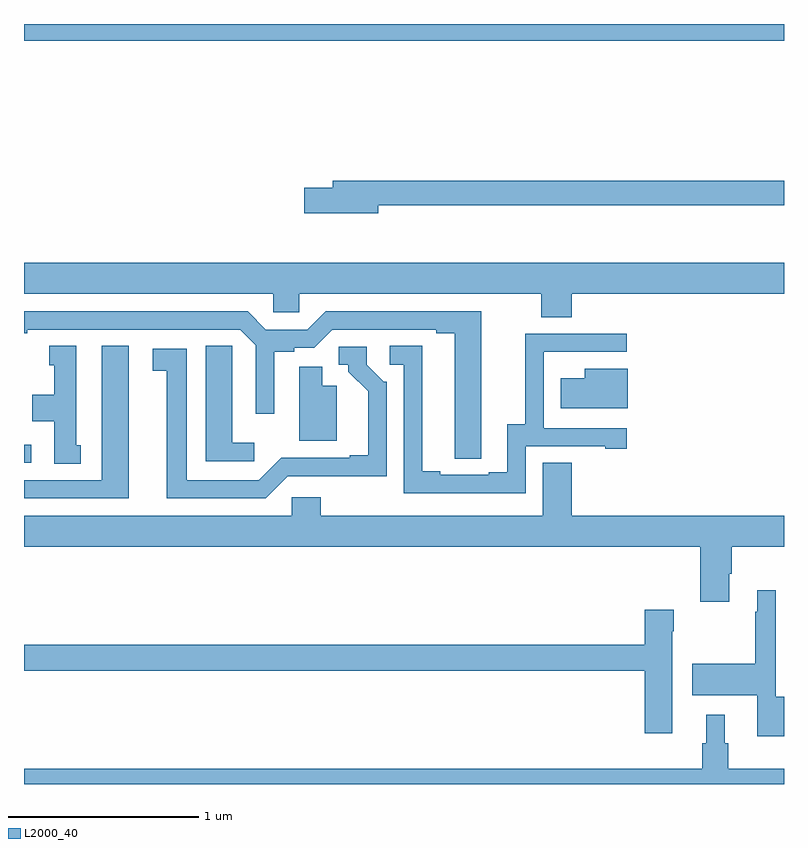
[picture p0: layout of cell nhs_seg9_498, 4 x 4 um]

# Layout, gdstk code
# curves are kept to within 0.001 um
import gdstk
lib = gdstk.Library(unit=1e-6, precision=1e-09)
def R(c, l, rs):  # rectangles x0, y0, x1, y1
    for r in rs: c.add(gdstk.rectangle(r[:2], r[2:], *l))
def P(c, l, *ps):  # polygons
    for p in ps: c.add(gdstk.Polygon(p, *l))
L2000_40 = (2000, 40)

nhs_seg9_498 = lib.new_cell('nhs_seg9_498')
R(nhs_seg9_498, L2000_40, [(135,1202.19,135.037,1202.286), (135,1204.412,139,1204.5)])
P(nhs_seg9_498, L2000_40, [(136.864,1203.546),(139,1203.546),(139,1203.674),(136.625,1203.674),(136.625,1203.638),(136.476,1203.638),(136.476,1203.503),(136.864,1203.503)],
  [(137.882,1203.08),(139,1203.08),(139,1203.244),(135,1203.244),(135,1203.08),(136.311,1203.08),(136.311,1202.982),(136.449,1202.982),(136.449,1203.08),(137.722,1203.08),(137.722,1202.956),(137.882,1202.956)],
  [(137.406,1202.32),(137.407,1202.988),(136.587,1202.988),(136.491,1202.892),(136.273,1202.892),(136.177,1202.988),(135,1202.988),(135,1202.872),(135.016,1202.872),(135.016,1202.892),(136.137,1202.892),(136.221,1202.808),(136.221,1202.448),(136.318,1202.448),(136.318,1202.776),(136.422,1202.776),(136.422,1202.796),(136.527,1202.796),(136.623,1202.892),(137.171,1202.892),(137.171,1202.872),(137.267,1202.872),(137.267,1202.212),(137.406,1202.212)],
  [(137.64,1202.277),(138.059,1202.277),(138.059,1202.265),(138.172,1202.265),(138.172,1202.373),(137.736,1202.373),(137.736,1202.774),(137.738,1202.774),(137.738,1202.775),(138.172,1202.775),(138.172,1202.871),(137.638,1202.871),(137.638,1202.393),(137.543,1202.393),(137.543,1202.142),(137.447,1202.142),(137.447,1202.127),(137.191,1202.127),(137.191,1202.147),(137.095,1202.147),(137.095,1202.807),(136.926,1202.807),(136.926,1202.706),(136.998,1202.706),(136.998,1202.031),(137.64,1202.031)],
  [(136.213,1202.296),(136.096,1202.296),(136.096,1202.699),(136.095,1202.699),(136.095,1202.807),(135.956,1202.807),(135.956,1202.199),(136.213,1202.199)],
  [(135.298,1202.283),(135.274,1202.283),(135.274,1202.806),(135.134,1202.806),(135.134,1202.703),(135.158,1202.703),(135.158,1202.548),(135.044,1202.548),(135.044,1202.408),(135.158,1202.408),(135.158,1202.185),(135.298,1202.185)],
  [(135.55,1202.806),(135.41,1202.806),(135.41,1202.1),(135,1202.1),(135,1202.004),(135.55,1202.004)],
  [(136.389,1202.121),(136.908,1202.12),(136.908,1202.616),(136.893,1202.616),(136.803,1202.706),(136.803,1202.802),(136.656,1202.802),(136.656,1202.706),(136.706,1202.706),(136.706,1202.671),(136.811,1202.566),(136.811,1202.23),(136.715,1202.23),(136.715,1202.217),(136.353,1202.217),(136.236,1202.1),(135.856,1202.1),(135.856,1202.79),(135.678,1202.79),(135.678,1202.674),(135.752,1202.674),(135.752,1202.004),(136.272,1202.004)],
  [(136.645,1202.596),(136.57,1202.596),(136.57,1202.695),(136.448,1202.695),(136.448,1202.306),(136.645,1202.306)],
  [(138.178,1202.686),(137.951,1202.686),(137.951,1202.635),(137.826,1202.635),(137.826,1202.477),(138.178,1202.477)],
  [(138.712,1201.606),(138.725,1201.606),(138.725,1201.748),(139,1201.748),(139,1201.912),(137.882,1201.912),(137.882,1202.192),(137.729,1202.192),(137.729,1201.912),(136.562,1201.912),(136.562,1202.01),(136.41,1202.01),(136.41,1201.912),(135,1201.912),(135,1201.748),(138.56,1201.748),(138.56,1201.458),(138.712,1201.458)],
  [(139,1200.958),(138.957,1200.958),(138.957,1201.519),(138.86,1201.519),(138.86,1201.406),(138.849,1201.406),(138.849,1201.134),(138.516,1201.134),(138.516,1200.968),(138.86,1200.968),(138.86,1200.752),(139,1200.752)],
  [(138.412,1201.304),(138.42,1201.304),(138.42,1201.417),(138.266,1201.417),(138.266,1201.232),(135,1201.232),(135,1201.096),(138.266,1201.096),(138.266,1200.768),(138.412,1200.768)],
  [(139,1200.58),(138.707,1200.58),(138.707,1200.714),(138.688,1200.714),(138.688,1200.865),(138.59,1200.865),(138.59,1200.714),(138.571,1200.714),(138.571,1200.58),(135,1200.58),(135,1200.5),(139,1200.5)])

lib.write_gds('nhs_seg9_498.gds')
